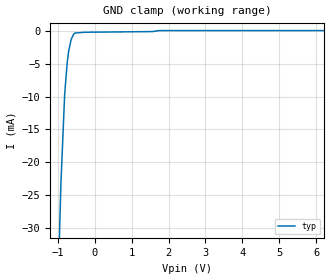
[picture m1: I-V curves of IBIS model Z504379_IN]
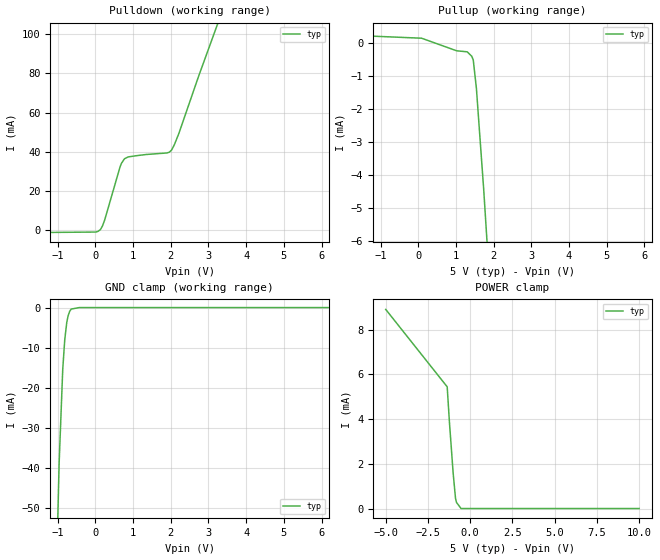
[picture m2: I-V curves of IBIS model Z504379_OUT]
| YOU ARE ONLY AUTHORIZED TO USE THIS SOFTWARE
| ACCORDING TO LICENSOR'S LICENSE RESTRICTIONS.
[IBIS Ver] 3.1
[File Name] sn54ls139j.ibs
[File Rev] 2.0
[Source] Measured and created by ICX Technology
[Date] Friday 7/14/00 9:08:13 AM
[Copyright]
| (C) COPYRIGHT 1993-2000
| MENTOR GRAPHICS CORPORATION
| ICX STANDARD LIBRARY, ICX PROJECT MODELING,
| ICX CUSTOM MODELING, ICX VENDOR MODEL
| ALL RIGHTS RESERVED.
| THE FOLLOWING ARE TRADEMARKS OR SERVICE MARKS OF
| MENTOR GRAPHICS CORPORATION:ICX (R), ICX STANDARD
| LIBRARY(R), ICX PROJECT MODELING(R), ICX CUSTOM
| MODELING(R), qualityIBIS(TM), MODELVIEWER(TM),
| AND MODELEDITOR(TM)
| ALL COPIES OF SOFTWARE, INCLUDING BUT NOT LIMITED TO
| ANY MODIFICATIONS, ENHANCEMENTS OR DERIVATIVE WORKS,
| MUST CONTAIN ALL MENTOR GRAPHICS CORPORATION'S
| NOTICES AND LEGENDS, INCLUDING THOSE EMBEDDED IN
| SOFTWARE AND THOSE AFFIXED TO SOFTWARE MEDIUM
| AND CONTAINER, AS RECEIVED FROM MENTOR GRAPHICS
| CORPORATION.
|  ZAP Model Builder 2.7
[Component] SN54LS139J
[Manufacturer] OnSemiconductor
[Package]
| variable   typ   min   max
R_pkg  .212ohms NA NA
L_pkg  4.758nH NA NA
C_pkg  1.944pF NA NA
[Pin] signal_name  model_name  R_pin  L_pin C_pin
1 _G Z504379_IN .224 7.258n 2.683p
2 A Z504379_IN .216 5.258n 2.19p
3 B Z504379_IN .208 3.758n 1.697p
4 _Y0 Z504379_OUT .2 2.758n 1.204p
5 _Y1 Z504379_OUT .2 2.758n 1.204p
6 _Y2 Z504379_OUT .208 3.758n 1.697p
7 _Y3 Z504379_OUT .216 5.258n 2.19p
8 GND GND .224 7.258n 2.683p
9 _Y3 Z504379_OUT .224 7.258n 2.683p
10 _Y2 Z504379_OUT .216 5.258n 2.19p
11 _Y1 Z504379_OUT .208 3.758n 1.697p
12 _Y0 Z504379_OUT .2 2.758n 1.204p
13 B Z504379_IN .2 2.758n 1.204p
14 A Z504379_IN .208 3.758n 1.697p
15 _G Z504379_IN .216 5.258n 2.19p
16 VCC POWER .224 7.258n 2.683p
| Models and submodels in the file (2): Z504379_IN (Input), Z504379_OUT (Output)
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| (C) COPYRIGHT 1993-2000
| MENTOR GRAPHICS CORPORATION
| ICX STANDARD LIBRARY, ICX PROJECT MODELING,
| ICX CUSTOM MODELING, ICX VENDOR MODEL
| ALL RIGHTS RESERVED.
| THE FOLLOWING ARE TRADEMARKS OR SERVICE MARKS OF
| MENTOR GRAPHICS CORPORATION:ICX (R), ICX STANDARD
| LIBRARY(R), ICX PROJECT MODELING(R), ICX CUSTOM
| MODELING(R), qualityIBIS(TM), MODELVIEWER(TM),
| AND MODELEDITOR(TM)
| ALL COPIES OF SOFTWARE, INCLUDING BUT NOT LIMITED TO
| ANY MODIFICATIONS, ENHANCEMENTS OR DERIVATIVE WORKS,
| MUST CONTAIN ALL MENTOR GRAPHICS CORPORATION'S
| NOTICES AND LEGENDS, INCLUDING THOSE EMBEDDED IN
| SOFTWARE AND THOSE AFFIXED TO SOFTWARE MEDIUM
| AND CONTAINER, AS RECEIVED FROM MENTOR GRAPHICS
| CORPORATION.
| Model Application Version 1.89 2/18/99.
[Model] Z504379_IN
Model_type Input
Vinl = 800.0mV
Vinh = 2.000V
C_comp 4.000pF NA NA
| variable typ   min   max
[Voltage Range] 5.000V NA NA
[GND Clamp Reference] 0.000V NA NA
[POWER Clamp Reference] 5.000V NA NA
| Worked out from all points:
|   GND clamp passes 1 mA (typ) near -0.61 V on its own axis
[GND Clamp]
-5V       -855.4mA   NA         NA
-912.8mV  -23.32mA   NA         NA
-810.2mV  -9.63mA    NA         NA
-741.2mV  -4.817mA   NA         NA
-698.9mV  -2.994mA   NA         NA
-634.4mV  -1.332mA   NA         NA
-565.7mV  -531.2uA   NA         NA
-527.3mV  -366uA     NA         NA
-263.7mV  -255.2uA   NA         NA
1.564V    -151.7uA   NA         NA
1.743V    -1.157uA   NA         NA
10V       -1.157uA   NA         NA
[POWER Clamp]
-5V       0A         NA         NA
10V       0A         NA         NA
| (C) COPYRIGHT 1993-2000
| MENTOR GRAPHICS CORPORATION
| ICX STANDARD LIBRARY, ICX PROJECT MODELING,
| ICX CUSTOM MODELING, ICX VENDOR MODEL
| ALL RIGHTS RESERVED.
| THE FOLLOWING ARE TRADEMARKS OR SERVICE MARKS OF
| MENTOR GRAPHICS CORPORATION:ICX (R), ICX STANDARD
| LIBRARY(R), ICX PROJECT MODELING(R), ICX CUSTOM
| MODELING(R), qualityIBIS(TM), MODELVIEWER(TM),
| AND MODELEDITOR(TM)
| ALL COPIES OF SOFTWARE, INCLUDING BUT NOT LIMITED TO
| ANY MODIFICATIONS, ENHANCEMENTS OR DERIVATIVE WORKS,
| MUST CONTAIN ALL MENTOR GRAPHICS CORPORATION'S
| NOTICES AND LEGENDS, INCLUDING THOSE EMBEDDED IN
| SOFTWARE AND THOSE AFFIXED TO SOFTWARE MEDIUM
| AND CONTAINER, AS RECEIVED FROM MENTOR GRAPHICS
| CORPORATION.
| Model Application Version 1.89 2/18/99.
[Model] Z504379_OUT
Model_type Output
Vref=5.000V
Rref=2.000kohms
Cref=15.00pF
Vmeas=1.300V
C_comp 8.000pF NA NA
| variable typ   min   max
[Voltage Range] 5.000V NA NA
[POWER Clamp Reference] 5.000V NA NA
[Pullup Reference] 5.000V NA NA
[Pulldown Reference] 0.000V NA NA
[GND Clamp Reference] 0.000V NA NA
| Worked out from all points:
|   slope of the pulldown table from 0 to 0.75 V, typ, clamps not added: 20.4 ohm
|   slope of the pullup table from 0 to 0.75 V, typ, clamps not added: 2.71 kohm
|   GND clamp passes 1 mA (typ) near -0.69 V on its own axis
|   POWER clamp passes 1 mA (typ) near -0.94 V on its own axis
[GND Clamp]
-5V       -2.026A    NA         NA
-1.093V   -87.82mA   NA         NA
-965.1mV  -39mA      NA         NA
-869.1mV  -15.46mA   NA         NA
-817.2mV  -8.21mA    NA         NA
-763.8mV  -3.797mA   NA         NA
-727.4mV  -2.07mA    NA         NA
-683.7mV  -916uA     NA         NA
-644.5mV  -373.3uA   NA         NA
-429.7mV  0A         NA         NA
10V       0A         NA         NA
[Pulldown]
-5V       -1.703mA   NA         NA
68.4mV    -547.4uA   NA         NA
131.8mV   354.3uA    NA         NA
243.9mV   5.208mA    NA         NA
652.2mV   32.32mA    NA         NA
767.8mV   36.43mA    NA         NA
1.084V    38.03mA    NA         NA
1.9V      39.43mA    NA         NA
2.021V    40.93mA    NA         NA
2.212V    49.31mA    NA         NA
2.734V    78.35mA    NA         NA
10V       462.9mA    NA         NA
[Pullup]
-5V       397.6uA    NA         NA
88mV      154.3uA    NA         NA
1.021V    -229.1uA   NA         NA
1.299V    -260.1uA   NA         NA
1.421V    -395.6uA   NA         NA
1.46V     -508.7uA   NA         NA
1.543V    -1.367mA   NA         NA
1.738V    -4.462mA   NA         NA
10V       -153.4mA   NA         NA
[POWER Clamp]
-5V       8.909mA    NA         NA
-1.362V   5.445mA    NA         NA
-1.23V    3.868mA    NA         NA
-1.011V   1.603mA    NA         NA
-870mV    455.5uA    NA         NA
-812mV    274uA      NA         NA
-541.3mV  0A         NA         NA
10V       0A         NA         NA
[Ramp]
| variable typ min max
dV/dt_r 1.839/5.565n NA NA
dV/dt_f 1.839/2.344n NA NA
R_load = 500.0Ohms
